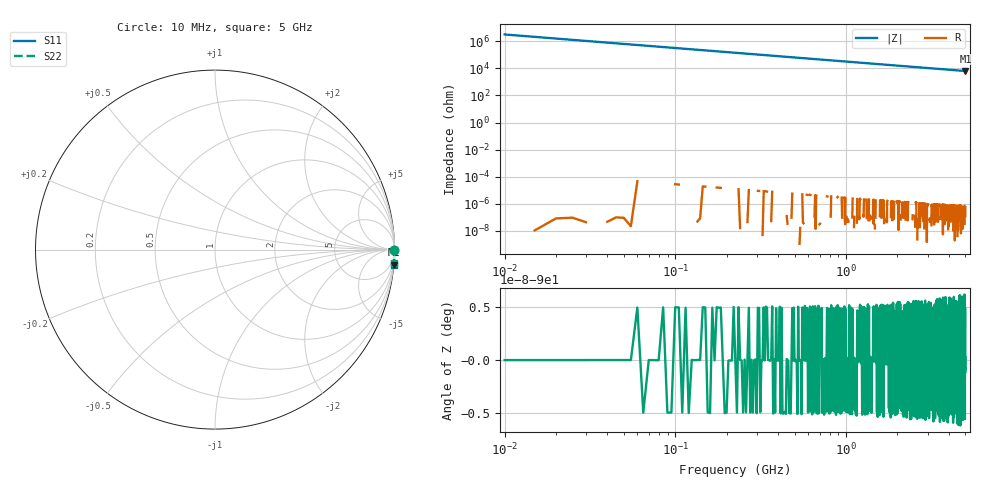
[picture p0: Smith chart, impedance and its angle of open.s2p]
! Forward-simulated: Open dummy (pad caps only)
!  Cpbe_fF = 22.0
!  Cpce_fF = 18.0
!  Cpbc_fF = 5.0
# Hz S DB R 50
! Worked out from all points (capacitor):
!   1001 points, 10 MHz to 5 GHz, reference 50 ohm
!   read as one part in series: C = 5 fF near 34.95 MHz
!   lowest |Z| = 6.37 kohm at 5 GHz (marker M1)
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1e7  -0.00 -0.0  -90.06 90.0  -90.06 90.0  -0.00 -0.0
1.998e7  -0.00 -0.0  -84.05 90.0  -84.05 90.0  -0.00 -0.0
3.495e7  -0.00 -0.0  -79.19 90.0  -79.19 90.0  -0.00 -0.0
4.493e7  -0.00 -0.0  -77.01 90.0  -77.01 90.0  -0.00 -0.0
6.489e7  -0.00 -0.1  -73.81 89.9  -73.81 89.9  -0.00 -0.1
7.986e7  -0.00 -0.1  -72.01 89.9  -72.01 89.9  -0.00 -0.1
9.982e7  -0.00 -0.1  -70.07 89.9  -70.07 89.9  -0.00 -0.1
1.1978e8  -0.00 -0.1  -68.49 89.9  -68.49 89.9  -0.00 -0.1
1.4972e8  -0.00 -0.1  -66.55 89.9  -66.55 89.9  -0.00 -0.1
1.7966e8  -0.00 -0.2  -64.97 89.8  -64.97 89.8  -0.00 -0.1
2.5451e8  -0.00 -0.2  -61.94 89.8  -61.94 89.8  -0.00 -0.2
3.593e8  -0.00 -0.3  -58.95 89.7  -58.95 89.7  -0.00 -0.3
4.8904e8  -0.00 -0.5  -56.27 89.6  -56.27 89.6  -0.00 -0.4
6.4872e8  -0.00 -0.6  -53.82 89.4  -53.82 89.4  -0.00 -0.5
8.4333e8  -0.00 -0.8  -51.54 89.2  -51.54 89.2  -0.00 -0.7
1.21259e9  -0.00 -1.2  -48.38 88.9  -48.38 88.9  -0.00 -1.0
1.67666e9  -0.00 -1.6  -45.57 88.5  -45.57 88.5  -0.00 -1.4
2.06089e9  -0.00 -2.0  -43.78 88.1  -43.78 88.1  -0.00 -1.7
2.505e9  -0.00 -2.4  -42.08 87.7  -42.08 87.7  -0.00 -2.1
3.33833e9  -0.00 -3.2  -39.59 87.0  -39.59 87.0  -0.00 -2.8
4.17166e9  -0.00 -4.1  -37.66 86.2  -37.66 86.2  -0.00 -3.5
5e9  -0.00 -4.9  -36.09 85.5  -36.09 85.5  -0.00 -4.1
